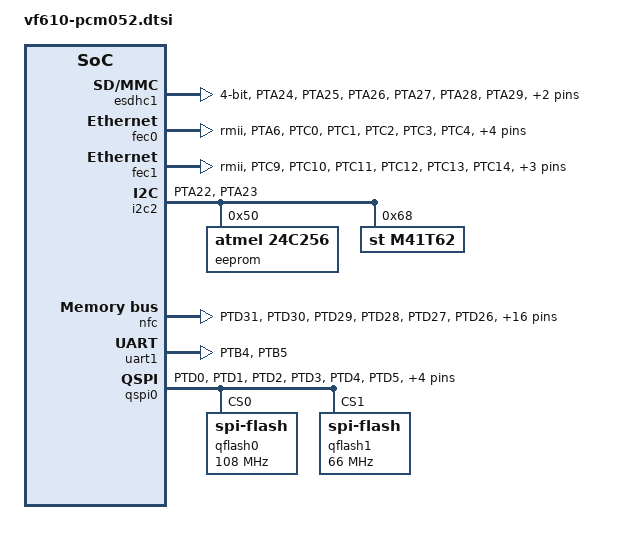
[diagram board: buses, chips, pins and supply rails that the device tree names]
// SPDX-License-Identifier: GPL-2.0+ OR X11
/*
 * (C) Copyright 2018
 * Lukasz Majewski, DENX Software Engineering, lukma@denx.de.
 *
 */

/dts-v1/;
#include "vf610.dtsi"
#include "vf610-pinfunc.h"

/ {
	chosen {
		stdout-path = &uart1;
	};

	aliases {
		spi0 = &qspi0;
		mmc0 = &esdhc1;
	};
};

&esdhc1 {
	pinctrl-names = "default";
	pinctrl-0 = <&pinctrl_esdhc1>;
	bus-width = <4>;
	cd-gpios = <&gpio3 2 GPIO_ACTIVE_LOW>;
	status = "okay";
};

&fec0 {
	pinctrl-names = "default";
	pinctrl-0 = <&pinctrl_eth>;

	phy-mode = "rmii";
	status = "okay";
};

&fec1 {
	pinctrl-names = "default";
	pinctrl-0 = <&pinctrl_eth1>;

	phy-mode = "rmii";
	status = "okay";
};

&i2c2 {
	pinctrl-names = "default";
	pinctrl-0 = <&pinctrl_i2c2>;
	status = "okay";

	eeprom: eeprom@50 {
		compatible = "atmel,24c256";
		reg = <0x50>;
		pagesize = <64>;
		u-boot,i2c-offset-len = <2>;
	};

	m41t62: rtc@68 {
		compatible = "st,m41t62";
		reg = <0x68>;
	};
};

&iomuxc {
	pinctrl-names = "default";
	pinctrl-0 = <&pinctrl_ddr>;

	pinctrl_ddr: ddrgrp {
		fsl,pins = <
			VF610_PAD_DDR_A15__DDR_A_15             0x1c0
			VF610_PAD_DDR_A14__DDR_A_14             0x1c0
			VF610_PAD_DDR_A13__DDR_A_13             0x1c0
			VF610_PAD_DDR_A12__DDR_A_12             0x1c0
			VF610_PAD_DDR_A11__DDR_A_11             0x1c0
			VF610_PAD_DDR_A10__DDR_A_10             0x1c0
			VF610_PAD_DDR_A9__DDR_A_9               0x1c0
			VF610_PAD_DDR_A8__DDR_A_8               0x1c0
			VF610_PAD_DDR_A7__DDR_A_7               0x1c0
			VF610_PAD_DDR_A6__DDR_A_6               0x1c0
			VF610_PAD_DDR_A5__DDR_A_5               0x1c0
			VF610_PAD_DDR_A4__DDR_A_4               0x1c0
			VF610_PAD_DDR_A3__DDR_A_3               0x1c0
			VF610_PAD_DDR_A2__DDR_A_2               0x1c0
			VF610_PAD_DDR_A1__DDR_A_1               0x1c0
			VF610_PAD_DDR_A0__DDR_A_0               0x1c0
			VF610_PAD_DDR_BA2__DDR_BA_2             0x1c0
			VF610_PAD_DDR_BA1__DDR_BA_1             0x1c0
			VF610_PAD_DDR_BA0__DDR_BA_0             0x1c0
			VF610_PAD_DDR_CAS__DDR_CAS_B            0x1c0
			VF610_PAD_DDR_CKE__DDR_CKE_0            0x1c0
			VF610_PAD_DDR_CLK__DDR_CLK_0            0x101c0
			VF610_PAD_DDR_CS__DDR_CS_B_0            0x1c0
			VF610_PAD_DDR_D15__DDR_D_15             0x1c0
			VF610_PAD_DDR_D14__DDR_D_14             0x1c0
			VF610_PAD_DDR_D13__DDR_D_13             0x1c0
			VF610_PAD_DDR_D12__DDR_D_12             0x1c0
			VF610_PAD_DDR_D11__DDR_D_11             0x1c0
			VF610_PAD_DDR_D10__DDR_D_10             0x1c0
			VF610_PAD_DDR_D9__DDR_D_9               0x1c0
			VF610_PAD_DDR_D8__DDR_D_8               0x1c0
			VF610_PAD_DDR_D7__DDR_D_7               0x1c0
			VF610_PAD_DDR_D6__DDR_D_6               0x1c0
			VF610_PAD_DDR_D5__DDR_D_5               0x1c0
			VF610_PAD_DDR_D4__DDR_D_4               0x1c0
			VF610_PAD_DDR_D3__DDR_D_3               0x1c0
			VF610_PAD_DDR_D2__DDR_D_2               0x1c0
			VF610_PAD_DDR_D1__DDR_D_1               0x1c0
			VF610_PAD_DDR_D0__DDR_D_0               0x1c0
			VF610_PAD_DDR_DQM1__DDR_DQM_1           0x1c0
			VF610_PAD_DDR_DQM0__DDR_DQM_0           0x1c0
			VF610_PAD_DDR_DQS1__DDR_DQS_1           0x101c0
			VF610_PAD_DDR_DQS0__DDR_DQS_0           0x101c0
			VF610_PAD_DDR_RAS__DDR_RAS_B            0x1c0
			VF610_PAD_DDR_WE__DDR_WE_B              0x1c0
			VF610_PAD_DDR_ODT1__DDR_ODT_0           0x1c0
			VF610_PAD_DDR_ODT0__DDR_ODT_1           0x1c0
			VF610_PAD_DDR_DDRBYTE1__DDR_DDRBYTE1    0x1c0
			VF610_PAD_DDR_DDRBYTE2__DDR_DDRBYTE2    0x1c0
			VF610_PAD_DDR_RESETB                    0x1006c
		>;
	};

	pinctrl_esdhc1: esdhc1grp {
		fsl,pins = <
			VF610_PAD_PTA24__ESDHC1_CLK		0x31ef
			VF610_PAD_PTA25__ESDHC1_CMD		0x31ef
			VF610_PAD_PTA26__ESDHC1_DAT0		0x31ef
			VF610_PAD_PTA27__ESDHC1_DAT1		0x31ef
			VF610_PAD_PTA28__ESDHC1_DATA2		0x31ef
			VF610_PAD_PTA29__ESDHC1_DAT3		0x31ef
			VF610_PAD_PTB28__GPIO_98		0x219d
		>;
	};

	pinctrl_eth: ethgrp {
		fsl,pins = <
			VF610_PAD_PTA6__RMII_CLKIN              0x30dd
			VF610_PAD_PTC0__ENET_RMII0_MDC          0x30de
			VF610_PAD_PTC1__ENET_RMII0_MDIO 0x30df
			VF610_PAD_PTC2__ENET_RMII0_CRS          0x30dd
			VF610_PAD_PTC3__ENET_RMII0_RXD1 0x30dd
			VF610_PAD_PTC4__ENET_RMII0_RXD0 0x30dd
			VF610_PAD_PTC5__ENET_RMII0_RXER 0x30dd
			VF610_PAD_PTC6__ENET_RMII0_TXD1 0x30de
			VF610_PAD_PTC7__ENET_RMII0_TXD0 0x30de
			VF610_PAD_PTC8__ENET_RMII0_TXEN 0x30de
		>;
	};

	pinctrl_eth1: eth1grp {
		fsl,pins = <
			VF610_PAD_PTC9__ENET_RMII1_MDC		0x30de
			VF610_PAD_PTC10__ENET_RMII1_MDIO	0x30df
			VF610_PAD_PTC11__ENET_RMII1_CRS	0x30dd
			VF610_PAD_PTC12__ENET_RMII1_RXD1	0x30dd
			VF610_PAD_PTC13__ENET_RMII1_RXD0	0x30dd
			VF610_PAD_PTC14__ENET_RMII1_RXER	0x30dd
			VF610_PAD_PTC15__ENET_RMII1_TXD1	0x30de
			VF610_PAD_PTC16__ENET_RMII1_TXD0	0x30de
			VF610_PAD_PTC17__ENET_RMII1_TXEN	0x30de
		>;
	};

	pinctrl_i2c2: i2c2grp {
		fsl,pins = <
			VF610_PAD_PTA22__I2C2_SCL		0x34df
			VF610_PAD_PTA23__I2C2_SDA		0x34df
		>;
	};

	pinctrl_nfc: nfcgrp {
		fsl,pins = <
			VF610_PAD_PTD31__NF_IO15		0x28df
			VF610_PAD_PTD30__NF_IO14		0x28df
			VF610_PAD_PTD29__NF_IO13		0x28df
			VF610_PAD_PTD28__NF_IO12		0x28df
			VF610_PAD_PTD27__NF_IO11		0x28df
			VF610_PAD_PTD26__NF_IO10		0x28df
			VF610_PAD_PTD25__NF_IO9		0x28df
			VF610_PAD_PTD24__NF_IO8		0x28df
			VF610_PAD_PTD23__NF_IO7		0x28df
			VF610_PAD_PTD22__NF_IO6		0x28df
			VF610_PAD_PTD21__NF_IO5		0x28df
			VF610_PAD_PTD20__NF_IO4		0x28df
			VF610_PAD_PTD19__NF_IO3		0x28df
			VF610_PAD_PTD18__NF_IO2		0x28df
			VF610_PAD_PTD17__NF_IO1		0x28df
			VF610_PAD_PTD16__NF_IO0		0x28df
			VF610_PAD_PTB24__NF_WE_B		0x28c2
			VF610_PAD_PTB25__NF_CE0_B		0x28c2
			VF610_PAD_PTB27__NF_RE_B		0x28c2
			VF610_PAD_PTC26__NF_RB_B		0x283d
			VF610_PAD_PTC27__NF_ALE		0x28c2
			VF610_PAD_PTC28__NF_CLE		0x28c2
		>;
	};

	pinctrl_qspi0: qspi0grp {
		fsl,pins = <
			VF610_PAD_PTD0__QSPI0_A_QSCK	0x397f
			VF610_PAD_PTD1__QSPI0_A_CS0	0x397f
			VF610_PAD_PTD2__QSPI0_A_DATA3	0x397f
			VF610_PAD_PTD3__QSPI0_A_DATA2	0x397f
			VF610_PAD_PTD4__QSPI0_A_DATA1	0x397f
			VF610_PAD_PTD5__QSPI0_A_DATA0	0x397f
			VF610_PAD_PTD7__QSPI0_B_QSCK	0x397f
			VF610_PAD_PTD8__QSPI0_B_CS0	0x397f
			VF610_PAD_PTD11__QSPI0_B_DATA1	0x397f
			VF610_PAD_PTD12__QSPI0_B_DATA0	0x397f
		>;
	};

	pinctrl_uart1: uart1grp {
		fsl,pins = <
			VF610_PAD_PTB4__UART1_TX                0x21a2
			VF610_PAD_PTB5__UART1_RX                0x21a1
		>;
	};
};

&nfc {
	pinctrl-names = "default";
	pinctrl-0 = <&pinctrl_nfc>;

	status = "okay";
};

&uart1 {
	pinctrl-names = "default";
	pinctrl-0 = <&pinctrl_uart1>;

	status = "okay";
};

&qspi0 {
	pinctrl-names = "default";
	pinctrl-0 = <&pinctrl_qspi0>;

	bus-num = <0>;
	num-cs = <2>;
	status = "okay";

	qflash0: spi_flash@0 {
		#address-cells = <1>;
		#size-cells = <1>;
		compatible = "spi-flash";
		spi-max-frequency = <108000000>;
		reg = <0>;
	};

	qflash1: spi_flash@1 {
		#address-cells = <1>;
		#size-cells = <1>;
		compatible = "spi-flash";
		spi-max-frequency = <66000000>;
		reg = <1>;
	};
};
